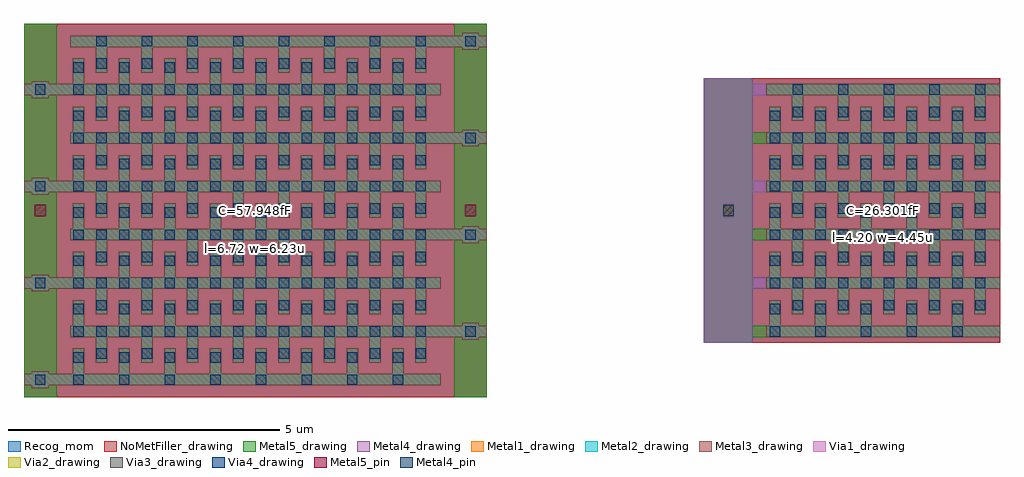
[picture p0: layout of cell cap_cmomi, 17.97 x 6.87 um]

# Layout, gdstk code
import gdstk
lib = gdstk.Library(unit=1e-6, precision=1e-09)
def R(c, l, rs):  # rectangles x0, y0, x1, y1
    for r in rs: c.add(gdstk.rectangle(r[:2], r[2:], *l))
def A(c, l, x, y, w, h, nx, ny, dx, dy):  # array of equal rectangles
    R(c, l, [(x+i*dx, y+j*dy, x+i*dx+w, y+j*dy+h) for i in range(nx) for j in range(ny)])
Metal1_drawing = (8, 0)
Metal2_drawing = (10, 0)
Via1_drawing = (19, 0)
Via2_drawing = (29, 0)
Metal3_drawing = (30, 0)
Via3_drawing = (49, 0)
Metal4_drawing = (50, 0)
Metal4_pin = (50, 2)
Via4_drawing = (66, 0)
Metal5_drawing = (67, 0)
Metal5_pin = (67, 2)
Recog_mom = (99, 39)
NoMetFiller_drawing = (160, 0)

cap_cmomi = lib.new_cell('cap_cmomi')
A(cap_cmomi, Metal1_drawing, 0.145, -3.27, 0.31, 0.31, 1, 4, 0, 1.78)
A(cap_cmomi, Metal1_drawing, 0, -3.22, 7.67, 0.21, 1, 4, 0, 1.78)
A(cap_cmomi, Metal1_drawing, 0.9, -3.115, 0.21, 0.575, 8, 7, 0.84, 0.89)
A(cap_cmomi, Metal1_drawing, 1.32, -2.8, 0.21, 0.575, 8, 7, 0.84, 0.89)
A(cap_cmomi, Metal1_drawing, 8.065, -2.38, 0.31, 0.31, 1, 4, 0, 1.78)
A(cap_cmomi, Metal1_drawing, 0.85, -2.33, 7.67, 0.21, 1, 4, 0, 1.78)
A(cap_cmomi, Metal1_drawing, 13.67, -2.33, 4.3, 0.21, 1, 6, 0, 0.89)
A(cap_cmomi, Metal1_drawing, 13.72, -2.225, 0.21, 0.575, 5, 5, 0.84, 0.89)
A(cap_cmomi, Metal1_drawing, 14.14, -1.91, 0.21, 0.575, 5, 5, 0.84, 0.89)
A(cap_cmomi, Metal2_drawing, 0.145, -3.27, 0.31, 0.31, 1, 4, 0, 1.78)
A(cap_cmomi, Metal2_drawing, 0, -3.22, 7.67, 0.21, 1, 4, 0, 1.78)
A(cap_cmomi, Metal2_drawing, 0.9, -3.115, 0.21, 0.575, 8, 7, 0.84, 0.89)
A(cap_cmomi, Metal2_drawing, 1.32, -2.8, 0.21, 0.575, 8, 7, 0.84, 0.89)
A(cap_cmomi, Metal2_drawing, 8.065, -2.38, 0.31, 0.31, 1, 4, 0, 1.78)
A(cap_cmomi, Metal2_drawing, 0.85, -2.33, 7.67, 0.21, 1, 4, 0, 1.78)
A(cap_cmomi, Metal2_drawing, 13.67, -2.33, 4.3, 0.21, 1, 6, 0, 0.89)
A(cap_cmomi, Metal2_drawing, 13.72, -2.225, 0.21, 0.575, 5, 5, 0.84, 0.89)
A(cap_cmomi, Metal2_drawing, 14.14, -1.91, 0.21, 0.575, 5, 5, 0.84, 0.89)
A(cap_cmomi, Via1_drawing, 0.205, -3.21, 0.19, 0.19, 1, 4, 0, 1.78)
A(cap_cmomi, Via1_drawing, 0.91, -3.21, 0.19, 0.19, 8, 2, 0.84, 0.41)
A(cap_cmomi, Via1_drawing, 1.33, -2.73, 0.19, 0.19, 8, 7, 0.84, 0.89)
A(cap_cmomi, Via1_drawing, 0.91, -2.32, 0.19, 0.19, 16, 6, 0.42, 0.89)
A(cap_cmomi, Via1_drawing, 8.125, -2.32, 0.19, 0.19, 1, 4, 0, 1.78)
A(cap_cmomi, Via1_drawing, 13.73, -2.32, 0.19, 0.19, 5, 2, 0.84, 0.41)
A(cap_cmomi, Via1_drawing, 0.91, -1.91, 0.19, 0.19, 8, 6, 0.84, 0.89)
A(cap_cmomi, Via1_drawing, 14.15, -1.84, 0.19, 0.19, 5, 5, 0.84, 0.89)
A(cap_cmomi, Via1_drawing, 13.73, -1.43, 0.19, 0.19, 10, 4, 0.42, 0.89)
A(cap_cmomi, Via1_drawing, 13.73, -1.02, 0.19, 0.19, 5, 4, 0.84, 0.89)
A(cap_cmomi, Via1_drawing, 14.15, 2.13, 0.19, 0.19, 5, 1, 0.84, 0)
A(cap_cmomi, Via1_drawing, 1.33, 3.02, 0.19, 0.19, 8, 1, 0.84, 0)
A(cap_cmomi, Via2_drawing, 0.205, -3.21, 0.19, 0.19, 1, 4, 0, 1.78)
A(cap_cmomi, Via2_drawing, 0.91, -3.21, 0.19, 0.19, 8, 2, 0.84, 0.41)
A(cap_cmomi, Via2_drawing, 1.33, -2.73, 0.19, 0.19, 8, 7, 0.84, 0.89)
A(cap_cmomi, Via2_drawing, 0.91, -2.32, 0.19, 0.19, 16, 6, 0.42, 0.89)
A(cap_cmomi, Via2_drawing, 8.125, -2.32, 0.19, 0.19, 1, 4, 0, 1.78)
A(cap_cmomi, Via2_drawing, 13.73, -2.32, 0.19, 0.19, 5, 2, 0.84, 0.41)
A(cap_cmomi, Via2_drawing, 0.91, -1.91, 0.19, 0.19, 8, 6, 0.84, 0.89)
A(cap_cmomi, Via2_drawing, 14.15, -1.84, 0.19, 0.19, 5, 5, 0.84, 0.89)
A(cap_cmomi, Via2_drawing, 13.73, -1.43, 0.19, 0.19, 10, 4, 0.42, 0.89)
A(cap_cmomi, Via2_drawing, 13.73, -1.02, 0.19, 0.19, 5, 4, 0.84, 0.89)
A(cap_cmomi, Via2_drawing, 14.15, 2.13, 0.19, 0.19, 5, 1, 0.84, 0)
A(cap_cmomi, Via2_drawing, 1.33, 3.02, 0.19, 0.19, 8, 1, 0.84, 0)
A(cap_cmomi, Metal3_drawing, 0.145, -3.27, 0.31, 0.31, 1, 4, 0, 1.78)
A(cap_cmomi, Metal3_drawing, 0, -3.22, 7.67, 0.21, 1, 4, 0, 1.78)
A(cap_cmomi, Metal3_drawing, 0.9, -3.115, 0.21, 0.575, 8, 7, 0.84, 0.89)
A(cap_cmomi, Metal3_drawing, 1.32, -2.8, 0.21, 0.575, 8, 7, 0.84, 0.89)
A(cap_cmomi, Metal3_drawing, 8.065, -2.38, 0.31, 0.31, 1, 4, 0, 1.78)
A(cap_cmomi, Metal3_drawing, 0.85, -2.33, 7.67, 0.21, 1, 4, 0, 1.78)
A(cap_cmomi, Metal3_drawing, 13.67, -2.33, 4.3, 0.21, 1, 6, 0, 0.89)
A(cap_cmomi, Metal3_drawing, 13.72, -2.225, 0.21, 0.575, 5, 5, 0.84, 0.89)
A(cap_cmomi, Metal3_drawing, 14.14, -1.91, 0.21, 0.575, 5, 5, 0.84, 0.89)
A(cap_cmomi, Via3_drawing, 0.205, -3.21, 0.19, 0.19, 1, 4, 0, 1.78)
A(cap_cmomi, Via3_drawing, 0.91, -3.21, 0.19, 0.19, 8, 2, 0.84, 0.41)
A(cap_cmomi, Via3_drawing, 1.33, -2.73, 0.19, 0.19, 8, 7, 0.84, 0.89)
A(cap_cmomi, Via3_drawing, 0.91, -2.32, 0.19, 0.19, 16, 6, 0.42, 0.89)
A(cap_cmomi, Via3_drawing, 8.125, -2.32, 0.19, 0.19, 1, 4, 0, 1.78)
A(cap_cmomi, Via3_drawing, 13.73, -2.32, 0.19, 0.19, 5, 2, 0.84, 0.41)
A(cap_cmomi, Via3_drawing, 0.91, -1.91, 0.19, 0.19, 8, 6, 0.84, 0.89)
A(cap_cmomi, Via3_drawing, 14.15, -1.84, 0.19, 0.19, 5, 5, 0.84, 0.89)
A(cap_cmomi, Via3_drawing, 13.73, -1.43, 0.19, 0.19, 10, 4, 0.42, 0.89)
A(cap_cmomi, Via3_drawing, 13.73, -1.02, 0.19, 0.19, 5, 4, 0.84, 0.89)
A(cap_cmomi, Via3_drawing, 14.15, 2.13, 0.19, 0.19, 5, 1, 0.84, 0)
A(cap_cmomi, Via3_drawing, 1.33, 3.02, 0.19, 0.19, 8, 1, 0.84, 0)
A(cap_cmomi, Metal4_drawing, 0.145, -3.27, 0.31, 0.31, 1, 4, 0, 1.78)
A(cap_cmomi, Metal4_drawing, 0, -3.22, 7.67, 0.21, 1, 4, 0, 1.78)
A(cap_cmomi, Metal4_drawing, 0.9, -3.115, 0.21, 0.575, 8, 7, 0.84, 0.89)
A(cap_cmomi, Metal4_drawing, 1.32, -2.8, 0.21, 0.575, 8, 7, 0.84, 0.89)
A(cap_cmomi, Metal4_drawing, 8.065, -2.38, 0.31, 0.31, 1, 4, 0, 1.78)
A(cap_cmomi, Metal4_drawing, 0.85, -2.33, 7.67, 0.21, 1, 4, 0, 1.78)
A(cap_cmomi, Metal4_drawing, 13.67, -2.33, 4.3, 0.21, 1, 3, 0, 1.78)
A(cap_cmomi, Metal4_drawing, 13.72, -2.225, 0.21, 0.575, 5, 5, 0.84, 0.89)
A(cap_cmomi, Metal4_drawing, 14.14, -1.91, 0.21, 0.575, 5, 5, 0.84, 0.89)
A(cap_cmomi, Metal4_drawing, 12.52, -1.44, 5.45, 0.21, 1, 3, 0, 1.78)
R(cap_cmomi, Metal4_drawing, [(12.52,-2.435,13.42,2.435)])
R(cap_cmomi, Metal4_pin, [(12.87,-0.105,13.07,0.105)])
A(cap_cmomi, Via4_drawing, 0.205, -3.21, 0.19, 0.19, 1, 4, 0, 1.78)
A(cap_cmomi, Via4_drawing, 0.91, -3.21, 0.19, 0.19, 8, 2, 0.84, 0.41)
A(cap_cmomi, Via4_drawing, 1.33, -2.73, 0.19, 0.19, 8, 7, 0.84, 0.89)
A(cap_cmomi, Via4_drawing, 0.91, -2.32, 0.19, 0.19, 16, 6, 0.42, 0.89)
A(cap_cmomi, Via4_drawing, 8.125, -2.32, 0.19, 0.19, 1, 4, 0, 1.78)
A(cap_cmomi, Via4_drawing, 13.73, -2.32, 0.19, 0.19, 5, 2, 0.84, 0.41)
A(cap_cmomi, Via4_drawing, 0.91, -1.91, 0.19, 0.19, 8, 6, 0.84, 0.89)
A(cap_cmomi, Via4_drawing, 14.15, -1.84, 0.19, 0.19, 5, 5, 0.84, 0.89)
A(cap_cmomi, Via4_drawing, 13.73, -1.43, 0.19, 0.19, 10, 4, 0.42, 0.89)
A(cap_cmomi, Via4_drawing, 13.73, -1.02, 0.19, 0.19, 5, 4, 0.84, 0.89)
A(cap_cmomi, Via4_drawing, 14.15, 2.13, 0.19, 0.19, 5, 1, 0.84, 0)
A(cap_cmomi, Via4_drawing, 1.33, 3.02, 0.19, 0.19, 8, 1, 0.84, 0)
A(cap_cmomi, Metal5_drawing, 0, -3.22, 7.67, 0.21, 1, 4, 0, 1.78)
A(cap_cmomi, Metal5_drawing, 0.9, -3.115, 0.21, 0.575, 8, 7, 0.84, 0.89)
A(cap_cmomi, Metal5_drawing, 1.32, -2.8, 0.21, 0.575, 8, 7, 0.84, 0.89)
A(cap_cmomi, Metal5_drawing, 0.85, -2.33, 7.67, 0.21, 1, 4, 0, 1.78)
A(cap_cmomi, Metal5_drawing, 12.52, -2.33, 5.45, 0.21, 1, 3, 0, 1.78)
A(cap_cmomi, Metal5_drawing, 13.72, -2.225, 0.21, 0.575, 5, 5, 0.84, 0.89)
A(cap_cmomi, Metal5_drawing, 14.14, -1.91, 0.21, 0.575, 5, 5, 0.84, 0.89)
A(cap_cmomi, Metal5_drawing, 13.67, -1.44, 4.3, 0.21, 1, 3, 0, 1.78)
R(cap_cmomi, Metal5_drawing, [(0,-3.435,0.6,3.435), (7.92,-3.435,8.52,3.435), (12.52,-2.435,13.42,2.435)])
R(cap_cmomi, Metal5_pin, [(0.2,-0.105,0.4,0.105), (8.12,-0.105,8.32,0.105), (12.87,-0.105,13.07,0.105)])
R(cap_cmomi, Recog_mom, [(0,-3.435,8.52,3.435), (12.52,-2.435,17.97,2.435)])
R(cap_cmomi, NoMetFiller_drawing, [(0,-3.435,8.52,3.435), (12.52,-2.435,17.97,2.435)])
cap_cmomi.add(gdstk.Label('C=57.948fF', (4.26,0), layer=63, texttype=0))
cap_cmomi.add(gdstk.Label('cap_cmomi', (4.26,0), layer=63, texttype=0))
cap_cmomi.add(gdstk.Label('l=6.72 w=6.23u', (4.26,-0.7), layer=63, texttype=0))
cap_cmomi.add(gdstk.Label('C=26.301fF', (15.82,0), layer=63, texttype=0))
cap_cmomi.add(gdstk.Label('cap_cmomi', (15.82,0), layer=63, texttype=0))
cap_cmomi.add(gdstk.Label('l=4.20 w=4.45u', (15.82,-0.5), layer=63, texttype=0))

lib.write_gds('cap_cmomi.gds')
